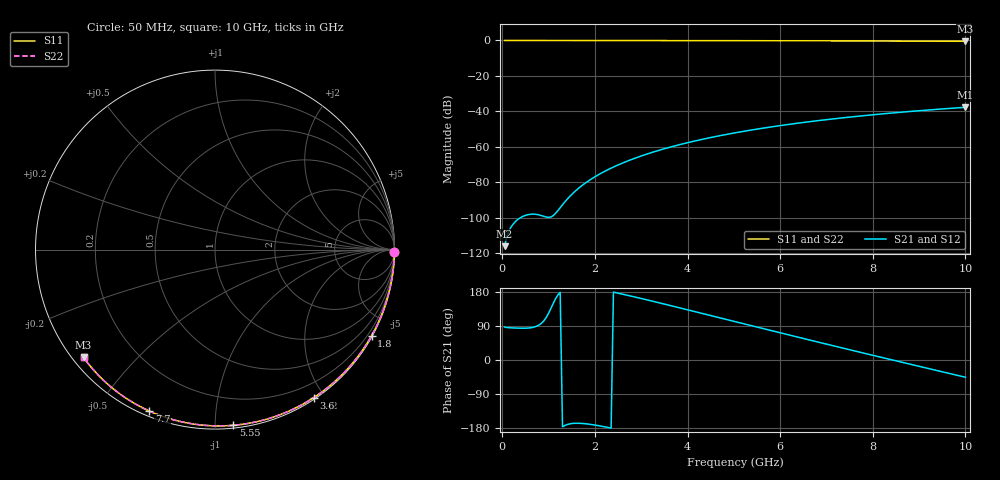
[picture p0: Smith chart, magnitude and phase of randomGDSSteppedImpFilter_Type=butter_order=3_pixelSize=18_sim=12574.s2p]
! freq	dB(S11)	phase(S11)	dB(S12)	phase(S12)
!  dB(S21)	phase(S21)	dB(S22)	phase(S22)
!S-par simulation data
#  GHz  S  DB  R 50
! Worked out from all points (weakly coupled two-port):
!   200 points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, 50 MHz to 10 GHz, reference 50 ohm
!   highest |S21| = -37.71 dB at 10 GHz (marker M1); lowest = -116.0 dB at 50 MHz (marker M2)
!   lowest |S11| = -0.5 dB at 10 GHz (marker M3), VSWR 36.98, Z = 1.52 - j17.9 ohm
!   |S11| at or under -10 dB: nowhere
!   |S22| runs from -0.5 to 0.0 dB; largest |S21 - S12| = 0
!   S11 on the Smith chart (normalised r, x): 50 MHz: open; 1.8 GHz: 0.03, -3.89; 3.6 GHz: 0.02, -1.87; 5.55 GHz: 0.02, -1.11; 7.7 GHz: 0.02, -0.67; 10 GHz: 0.03, -0.36
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0.05  -0.00 -0.8  -116.05 87.0  -116.05 87.0  -0.00 -0.8
0.45  -0.01 -7.3  -99.17 83.8  -99.17 83.8  -0.01 -7.3
0.9  -0.02 -14.6  -99.23 103.8  -99.23 103.8  -0.02 -14.6
1.75  -0.04 -28.1  -81.26 -167.7  -81.26 -167.7  -0.04 -28.1
1.8  -0.04 -28.9  -80.31 -168.3  -80.31 -168.3  -0.04 -28.9
1.85  -0.04 -29.6  -79.41 -169.0  -79.41 -169.0  -0.04 -29.6
2  -0.04 -32.0  -76.91 -171.6  -76.91 -171.6  -0.04 -32.0
2.15  -0.04 -34.3  -74.67 -174.9  -74.67 -174.9  -0.04 -34.3
2.35  -0.05 -37.4  -72.02 -179.7  -72.02 -179.7  -0.05 -37.4
2.55  -0.05 -40.5  -69.66 175.0  -69.66 175.0  -0.05 -40.5
2.95  -0.06 -46.6  -65.62 163.8  -65.62 163.8  -0.06 -46.6
3.4  -0.07 -53.4  -61.83 150.6  -61.83 150.6  -0.07 -53.4
3.6  -0.08 -56.3  -60.35 144.6  -60.35 144.6  -0.08 -56.3
4.3  -0.09 -66.5  -55.87 123.4  -55.87 123.4  -0.09 -66.5
5.05  -0.12 -77.1  -51.99 100.6  -51.99 100.6  -0.12 -77.1
5.55  -0.14 -84.0  -49.80 85.4  -49.80 85.4  -0.14 -84.0
6.1  -0.16 -91.4  -47.66 68.8  -47.66 68.8  -0.16 -91.4
6.7  -0.19 -99.3  -45.61 50.8  -45.61 50.8  -0.19 -99.3
7.7  -0.26 -112.1  -42.70 21.2  -42.70 21.2  -0.26 -112.1
8.35  -0.31 -120.3  -41.08 2.2  -41.08 2.2  -0.31 -120.3
9.2  -0.38 -130.8  -39.22 -22.4  -39.22 -22.4  -0.38 -130.8
10  -0.47 -140.7  -37.71 -45.5  -37.71 -45.5  -0.47 -140.7
